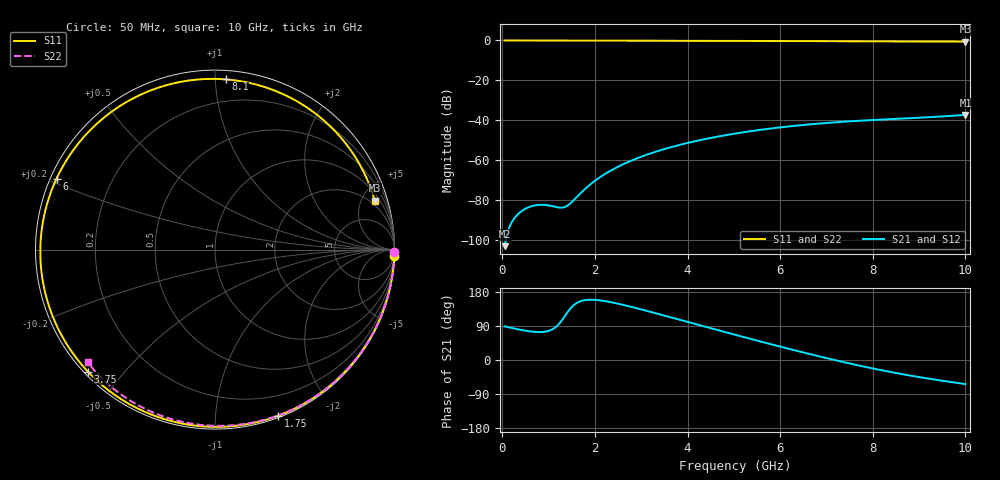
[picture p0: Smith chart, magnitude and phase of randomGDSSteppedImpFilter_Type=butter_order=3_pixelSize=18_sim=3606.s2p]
! freq	dB(S11)	phase(S11)	dB(S12)	phase(S12)
!  dB(S21)	phase(S21)	dB(S22)	phase(S22)
!S-par simulation data
#  GHz  S  DB  R 50
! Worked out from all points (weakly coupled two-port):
!   200 points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, 50 MHz to 10 GHz, reference 50 ohm
!   highest |S21| = -37.37 dB at 10 GHz (marker M1); lowest = -103.3 dB at 50 MHz (marker M2)
!   lowest |S11| = -0.6 dB at 10 GHz (marker M3), VSWR 27.83, Z = 77.1 + j315 ohm
!   |S11| at or under -10 dB: nowhere
!   |S22| runs from -0.5 to 0.0 dB; largest |S21 - S12| = 0
!   S11 on the Smith chart (normalised r, x): 50 MHz: 0, -55; 1.75 GHz: 0.02, -1.45; 3.75 GHz: 0.01, -0.40; 6 GHz: 0.02, +0.21; 8.1 GHz: 0.05, +1.06; 10 GHz: 1.54, +6.29
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0.05  -0.00 -2.1  -103.27 88.6  -103.27 88.6  -0.00 -0.8
0.4  -0.02 -16.4  -85.96 79.5  -85.96 79.5  -0.01 -6.4
0.75  -0.04 -30.5  -82.63 73.8  -82.63 73.8  -0.01 -11.9
1.15  -0.06 -46.3  -83.54 86.5  -83.54 86.5  -0.02 -18.3
1.55  -0.08 -61.6  -80.00 145.5  -80.00 145.5  -0.03 -24.5
1.75  -0.08 -69.1  -75.35 157.2  -75.35 157.2  -0.04 -27.6
2.05  -0.10 -80.0  -69.61 158.2  -69.61 158.2  -0.04 -32.3
2.45  -0.11 -94.0  -63.97 149.9  -63.97 149.9  -0.05 -38.4
2.9  -0.13 -109.1  -59.25 136.7  -59.25 136.7  -0.06 -45.1
3.4  -0.15 -125.3  -55.22 120.5  -55.22 120.5  -0.07 -52.6
3.75  -0.16 -136.2  -52.91 108.9  -52.91 108.9  -0.08 -57.7
4.4  -0.19 -156.0  -49.41 87.2  -49.41 87.2  -0.10 -66.9
5.05  -0.23 -175.4  -46.66 65.8  -46.66 65.8  -0.12 -76.0
5.5  -0.25 171.1  -45.10 51.2  -45.10 51.2  -0.13 -82.1
6  -0.29 155.8  -43.64 35.3  -43.64 35.3  -0.15 -88.7
6.7  -0.34 133.9  -42.00 13.8  -42.00 13.8  -0.19 -97.9
7.45  -0.39 109.1  -40.68 -7.8  -40.68 -7.8  -0.24 -107.4
8.1  -0.44 86.5  -39.82 -24.8  -39.82 -24.8  -0.28 -115.4
8.35  -0.46 77.5  -39.53 -30.9  -39.53 -30.9  -0.30 -118.5
9.1  -0.53 50.1  -38.67 -47.1  -38.67 -47.1  -0.37 -127.6
9.55  -0.57 33.5  -38.08 -55.6  -38.08 -55.6  -0.42 -133.0
10  -0.62 17.1  -37.37 -63.6  -37.37 -63.6  -0.47 -138.5
